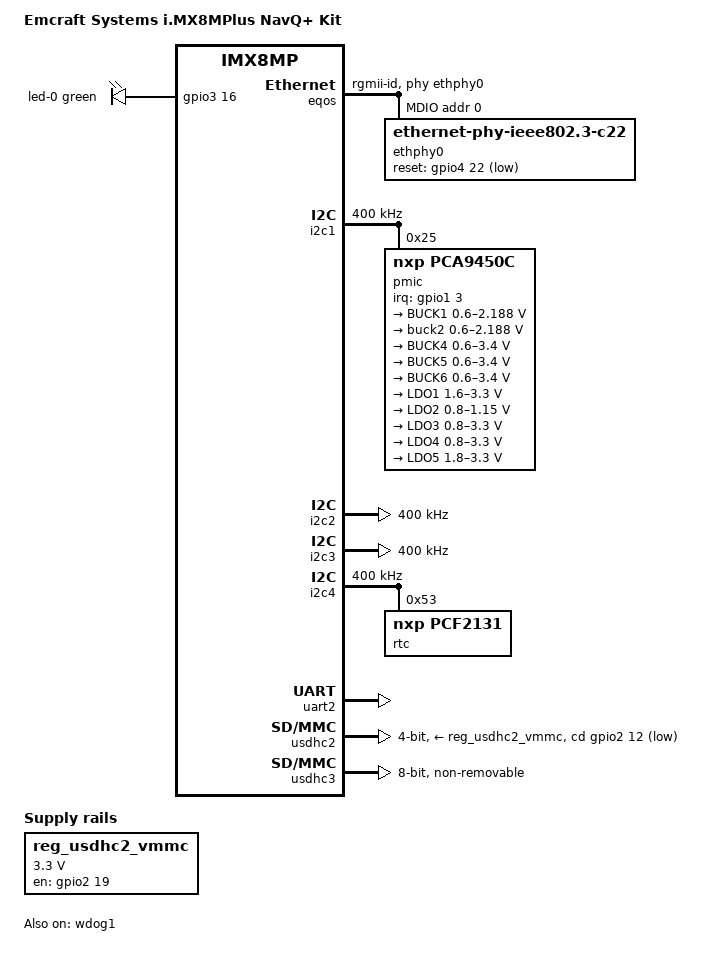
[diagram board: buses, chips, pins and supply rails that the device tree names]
// SPDX-License-Identifier: (GPL-2.0+ OR MIT)
/*
 * Copyright 2021 Emcraft Systems
 * Copyright 2024 Gilles Talis <gilles.talis@gmail.com>
 */

/dts-v1/;

#include <dt-bindings/gpio/gpio.h>
#include <dt-bindings/leds/common.h>
#include "imx8mp.dtsi"

/ {
	model = "Emcraft Systems i.MX8MPlus NavQ+ Kit";
	compatible = "emcraft,imx8mp-navqp", "fsl,imx8mp";

	chosen {
		stdout-path = &uart2;
	};

	leds {
		compatible = "gpio-leds";
		pinctrl-names = "default";
		pinctrl-0 = <&pinctrl_gpio_led>;

		led-0 {
			color = <LED_COLOR_ID_GREEN>;
			function = LED_FUNCTION_STATUS;
			gpios = <&gpio3 16 GPIO_ACTIVE_HIGH>;
			default-state = "on";
		};
	};

	reg_usdhc2_vmmc: regulator-usdhc2 {
		compatible = "regulator-fixed";
		pinctrl-names = "default";
		pinctrl-0 = <&pinctrl_reg_usdhc2_vmmc>;
		regulator-name = "VSD_3V3";
		regulator-min-microvolt = <3300000>;
		regulator-max-microvolt = <3300000>;
		gpio = <&gpio2 19 GPIO_ACTIVE_HIGH>;
		enable-active-high;
		startup-delay-us = <100>;
		off-on-delay-us = <12000>;
	};
};

&A53_0 {
	cpu-supply = <&buck2>;
};

&A53_1 {
	cpu-supply = <&buck2>;
};

&A53_2 {
	cpu-supply = <&buck2>;
};

&A53_3 {
	cpu-supply = <&buck2>;
};

&eqos {
	pinctrl-names = "default";
	pinctrl-0 = <&pinctrl_eqos>;
	phy-mode = "rgmii-id";
	phy-handle = <&ethphy0>;
	status = "okay";

	mdio {
		compatible = "snps,dwmac-mdio";
		#address-cells = <1>;
		#size-cells = <0>;

		ethphy0: ethernet-phy@0 {
			compatible = "ethernet-phy-ieee802.3-c22";
			reg = <0>;
			reset-gpios = <&gpio4 22 GPIO_ACTIVE_LOW>;
			reset-assert-us = <1000>;
			reset-deassert-us = <10000>;
			qca,disable-smarteee;
			qca,disable-hibernation-mode;
		};
	};
};

&i2c1 {
	clock-frequency = <400000>;
	pinctrl-names = "default";
	pinctrl-0 = <&pinctrl_i2c1>;
	status = "okay";

	pmic@25 {
		compatible = "nxp,pca9450c";
		reg = <0x25>;
		pinctrl-names = "default";
		pinctrl-0 = <&pinctrl_pmic>;
		interrupt-parent = <&gpio1>;
		interrupts = <3 IRQ_TYPE_LEVEL_LOW>;

		regulators {
			BUCK1 {
				regulator-name = "BUCK1";
				regulator-min-microvolt = <600000>;
				regulator-max-microvolt = <2187500>;
				regulator-boot-on;
				regulator-always-on;
				regulator-ramp-delay = <3125>;
			};

			buck2: BUCK2 {
				regulator-name = "BUCK2";
				regulator-min-microvolt = <600000>;
				regulator-max-microvolt = <2187500>;
				regulator-boot-on;
				regulator-always-on;
				regulator-ramp-delay = <3125>;
				nxp,dvs-run-voltage = <950000>;
				nxp,dvs-standby-voltage = <850000>;
			};

			BUCK4 {
				regulator-name = "BUCK4";
				regulator-min-microvolt = <600000>;
				regulator-max-microvolt = <3400000>;
				regulator-boot-on;
				regulator-always-on;
			};

			BUCK5 {
				regulator-name = "BUCK5";
				regulator-min-microvolt = <600000>;
				regulator-max-microvolt = <3400000>;
				regulator-boot-on;
				regulator-always-on;
			};

			BUCK6 {
				regulator-name = "BUCK6";
				regulator-min-microvolt = <600000>;
				regulator-max-microvolt = <3400000>;
				regulator-boot-on;
				regulator-always-on;
			};

			LDO1 {
				regulator-name = "LDO1";
				regulator-min-microvolt = <1600000>;
				regulator-max-microvolt = <3300000>;
				regulator-boot-on;
				regulator-always-on;
			};

			LDO2 {
				regulator-name = "LDO2";
				regulator-min-microvolt = <800000>;
				regulator-max-microvolt = <1150000>;
				regulator-boot-on;
				regulator-always-on;
			};

			LDO3 {
				regulator-name = "LDO3";
				regulator-min-microvolt = <800000>;
				regulator-max-microvolt = <3300000>;
				regulator-boot-on;
				regulator-always-on;
			};

			LDO4 {
				regulator-name = "LDO4";
				regulator-min-microvolt = <800000>;
				regulator-max-microvolt = <3300000>;
				regulator-boot-on;
				regulator-always-on;
			};

			LDO5 {
				regulator-name = "LDO5";
				regulator-min-microvolt = <1800000>;
				regulator-max-microvolt = <3300000>;
				regulator-boot-on;
				regulator-always-on;
			};
		};
	};
};

&i2c2 {
	clock-frequency = <400000>;
	pinctrl-names = "default";
	pinctrl-0 = <&pinctrl_i2c2>;
	status = "okay";
};

&i2c3 {
	clock-frequency = <400000>;
	pinctrl-names = "default";
	pinctrl-0 = <&pinctrl_i2c3>;
	status = "okay";
};

&i2c4 {
	clock-frequency = <400000>;
	pinctrl-names = "default";
	pinctrl-0 = <&pinctrl_i2c4>;
	status = "okay";

	rtc@53 {
		compatible = "nxp,pcf2131";
		reg = <0x53>;
	};
};

&uart2 {
	/* console */
	pinctrl-names = "default";
	pinctrl-0 = <&pinctrl_uart2>;
	status = "okay";
};

/* SD Card */
&usdhc2 {
	pinctrl-names = "default", "state_100mhz", "state_200mhz";
	pinctrl-0 = <&pinctrl_usdhc2>, <&pinctrl_usdhc2_gpio>;
	pinctrl-1 = <&pinctrl_usdhc2_100mhz>, <&pinctrl_usdhc2_gpio>;
	pinctrl-2 = <&pinctrl_usdhc2_200mhz>, <&pinctrl_usdhc2_gpio>;
	cd-gpios = <&gpio2 12 GPIO_ACTIVE_LOW>;
	vmmc-supply = <&reg_usdhc2_vmmc>;
	bus-width = <4>;
	status = "okay";
};

/* eMMC */
&usdhc3 {
	assigned-clocks = <&clk IMX8MP_CLK_USDHC3>;
	assigned-clock-rates = <400000000>;
	pinctrl-names = "default", "state_100mhz", "state_200mhz";
	pinctrl-0 = <&pinctrl_usdhc3>;
	pinctrl-1 = <&pinctrl_usdhc3_100mhz>;
	pinctrl-2 = <&pinctrl_usdhc3_200mhz>;
	bus-width = <8>;
	non-removable;
	status = "okay";
};

&wdog1 {
	pinctrl-names = "default";
	pinctrl-0 = <&pinctrl_wdog>;
	fsl,ext-reset-output;
	status = "okay";
};

&iomuxc {
	pinctrl_eqos: eqosgrp {
		fsl,pins = <
			MX8MP_IOMUXC_ENET_MDC__ENET_QOS_MDC				0x3
			MX8MP_IOMUXC_ENET_MDIO__ENET_QOS_MDIO				0x3
			MX8MP_IOMUXC_ENET_RD0__ENET_QOS_RGMII_RD0			0x91
			MX8MP_IOMUXC_ENET_RD1__ENET_QOS_RGMII_RD1			0x91
			MX8MP_IOMUXC_ENET_RD2__ENET_QOS_RGMII_RD2			0x91
			MX8MP_IOMUXC_ENET_RD3__ENET_QOS_RGMII_RD3			0x91
			MX8MP_IOMUXC_ENET_RXC__CCM_ENET_QOS_CLOCK_GENERATE_RX_CLK	0x91
			MX8MP_IOMUXC_ENET_RX_CTL__ENET_QOS_RGMII_RX_CTL			0x91
			MX8MP_IOMUXC_ENET_TD0__ENET_QOS_RGMII_TD0			0x1f
			MX8MP_IOMUXC_ENET_TD1__ENET_QOS_RGMII_TD1			0x1f
			MX8MP_IOMUXC_ENET_TD2__ENET_QOS_RGMII_TD2			0x1f
			MX8MP_IOMUXC_ENET_TD3__ENET_QOS_RGMII_TD3			0x1f
			MX8MP_IOMUXC_ENET_TX_CTL__ENET_QOS_RGMII_TX_CTL			0x1f
			MX8MP_IOMUXC_ENET_TXC__CCM_ENET_QOS_CLOCK_GENERATE_TX_CLK	0x1f
			MX8MP_IOMUXC_SAI2_RXC__GPIO4_IO22				0x110
		>;
	};

	pinctrl_gpio_led: gpioledgrp {
		fsl,pins = <
			MX8MP_IOMUXC_NAND_READY_B__GPIO3_IO16				0x19
		>;
	};

	pinctrl_i2c1: i2c1grp {
		fsl,pins = <
			MX8MP_IOMUXC_I2C1_SCL__I2C1_SCL					0x400001c3
			MX8MP_IOMUXC_I2C1_SDA__I2C1_SDA					0x400001c3
		>;
	};

	pinctrl_i2c2: i2c2grp {
		fsl,pins = <
			MX8MP_IOMUXC_I2C2_SCL__I2C2_SCL					0x400001c3
			MX8MP_IOMUXC_I2C2_SDA__I2C2_SDA					0x400001c3
		>;
	};

	pinctrl_i2c3: i2c3grp {
		fsl,pins = <
			MX8MP_IOMUXC_I2C3_SCL__I2C3_SCL					0x400001c3
			MX8MP_IOMUXC_I2C3_SDA__I2C3_SDA					0x400001c3
		>;
	};

	pinctrl_i2c4: i2c4grp {
		fsl,pins = <
			MX8MP_IOMUXC_I2C4_SCL__I2C4_SCL					0x400001c3
			MX8MP_IOMUXC_I2C4_SDA__I2C4_SDA					0x400001c3
		>;
	};

	pinctrl_pmic: pmicgrp {
		fsl,pins = <
			MX8MP_IOMUXC_GPIO1_IO03__GPIO1_IO03				0x41
		>;
	};

	pinctrl_reg_usdhc2_vmmc: regusdhc2vmmcgrp {
		fsl,pins = <
			MX8MP_IOMUXC_SD2_RESET_B__GPIO2_IO19				0x41
		>;
	};

	pinctrl_uart2: uart2grp {
		fsl,pins = <
			MX8MP_IOMUXC_UART2_RXD__UART2_DCE_RX				0x49
			MX8MP_IOMUXC_UART2_TXD__UART2_DCE_TX				0x49
		>;
	};

	pinctrl_usdhc2: usdhc2grp {
		fsl,pins = <
			MX8MP_IOMUXC_SD2_CLK__USDHC2_CLK				0x190
			MX8MP_IOMUXC_SD2_CMD__USDHC2_CMD				0x1d0
			MX8MP_IOMUXC_SD2_DATA0__USDHC2_DATA0				0x1d0
			MX8MP_IOMUXC_SD2_DATA1__USDHC2_DATA1				0x1d0
			MX8MP_IOMUXC_SD2_DATA2__USDHC2_DATA2				0x1d0
			MX8MP_IOMUXC_SD2_DATA3__USDHC2_DATA3				0x1d0
			MX8MP_IOMUXC_GPIO1_IO04__USDHC2_VSELECT				0xc1
		>;
	};

	pinctrl_usdhc2_100mhz: usdhc2-100mhzgrp {
		fsl,pins = <
			MX8MP_IOMUXC_SD2_CLK__USDHC2_CLK				0x194
			MX8MP_IOMUXC_SD2_CMD__USDHC2_CMD				0x1d4
			MX8MP_IOMUXC_SD2_DATA0__USDHC2_DATA0				0x1d4
			MX8MP_IOMUXC_SD2_DATA1__USDHC2_DATA1				0x1d4
			MX8MP_IOMUXC_SD2_DATA2__USDHC2_DATA2				0x1d4
			MX8MP_IOMUXC_SD2_DATA3__USDHC2_DATA3				0x1d4
			MX8MP_IOMUXC_GPIO1_IO04__USDHC2_VSELECT				0xc1
		>;
	};

	pinctrl_usdhc2_200mhz: usdhc2-200mhzgrp {
		fsl,pins = <
			MX8MP_IOMUXC_SD2_CLK__USDHC2_CLK				0x196
			MX8MP_IOMUXC_SD2_CMD__USDHC2_CMD				0x1d6
			MX8MP_IOMUXC_SD2_DATA0__USDHC2_DATA0				0x1d6
			MX8MP_IOMUXC_SD2_DATA1__USDHC2_DATA1				0x1d6
			MX8MP_IOMUXC_SD2_DATA2__USDHC2_DATA2				0x1d6
			MX8MP_IOMUXC_SD2_DATA3__USDHC2_DATA3				0x1d6
			MX8MP_IOMUXC_GPIO1_IO04__USDHC2_VSELECT				0xc1
		>;
	};

	pinctrl_usdhc2_gpio: usdhc2gpiogrp {
		fsl,pins = <
			MX8MP_IOMUXC_SD2_CD_B__GPIO2_IO12				0x1c4
		>;
	};

	pinctrl_usdhc3: usdhc3grp {
		fsl,pins = <
			MX8MP_IOMUXC_NAND_WE_B__USDHC3_CLK				0x190
			MX8MP_IOMUXC_NAND_WP_B__USDHC3_CMD				0x1d0
			MX8MP_IOMUXC_NAND_DATA04__USDHC3_DATA0				0x1d0
			MX8MP_IOMUXC_NAND_DATA05__USDHC3_DATA1				0x1d0
			MX8MP_IOMUXC_NAND_DATA06__USDHC3_DATA2				0x1d0
			MX8MP_IOMUXC_NAND_DATA07__USDHC3_DATA3				0x1d0
			MX8MP_IOMUXC_NAND_RE_B__USDHC3_DATA4				0x1d0
			MX8MP_IOMUXC_NAND_CE2_B__USDHC3_DATA5				0x1d0
			MX8MP_IOMUXC_NAND_CE3_B__USDHC3_DATA6				0x1d0
			MX8MP_IOMUXC_NAND_CLE__USDHC3_DATA7				0x1d0
			MX8MP_IOMUXC_NAND_CE1_B__USDHC3_STROBE				0x190
		>;
	};

	pinctrl_usdhc3_100mhz: usdhc3-100mhzgrp {
		fsl,pins = <
			MX8MP_IOMUXC_NAND_WE_B__USDHC3_CLK				0x194
			MX8MP_IOMUXC_NAND_WP_B__USDHC3_CMD				0x1d4
			MX8MP_IOMUXC_NAND_DATA04__USDHC3_DATA0				0x1d4
			MX8MP_IOMUXC_NAND_DATA05__USDHC3_DATA1				0x1d4
			MX8MP_IOMUXC_NAND_DATA06__USDHC3_DATA2				0x1d4
			MX8MP_IOMUXC_NAND_DATA07__USDHC3_DATA3				0x1d4
			MX8MP_IOMUXC_NAND_RE_B__USDHC3_DATA4				0x1d4
			MX8MP_IOMUXC_NAND_CE2_B__USDHC3_DATA5				0x1d4
			MX8MP_IOMUXC_NAND_CE3_B__USDHC3_DATA6				0x1d4
			MX8MP_IOMUXC_NAND_CLE__USDHC3_DATA7				0x1d4
			MX8MP_IOMUXC_NAND_CE1_B__USDHC3_STROBE				0x194
		>;
	};

	pinctrl_usdhc3_200mhz: usdhc3-200mhzgrp {
		fsl,pins = <
			MX8MP_IOMUXC_NAND_WE_B__USDHC3_CLK				0x196
			MX8MP_IOMUXC_NAND_WP_B__USDHC3_CMD				0x1d6
			MX8MP_IOMUXC_NAND_DATA04__USDHC3_DATA0				0x1d6
			MX8MP_IOMUXC_NAND_DATA05__USDHC3_DATA1				0x1d6
			MX8MP_IOMUXC_NAND_DATA06__USDHC3_DATA2				0x1d6
			MX8MP_IOMUXC_NAND_DATA07__USDHC3_DATA3				0x1d6
			MX8MP_IOMUXC_NAND_RE_B__USDHC3_DATA4				0x1d6
			MX8MP_IOMUXC_NAND_CE2_B__USDHC3_DATA5				0x1d6
			MX8MP_IOMUXC_NAND_CE3_B__USDHC3_DATA6				0x1d6
			MX8MP_IOMUXC_NAND_CLE__USDHC3_DATA7				0x1d6
			MX8MP_IOMUXC_NAND_CE1_B__USDHC3_STROBE				0x196
		>;
	};

	pinctrl_wdog: wdoggrp {
		fsl,pins = <
			MX8MP_IOMUXC_GPIO1_IO02__WDOG1_WDOG_B				0xc6
		>;
	};
};
